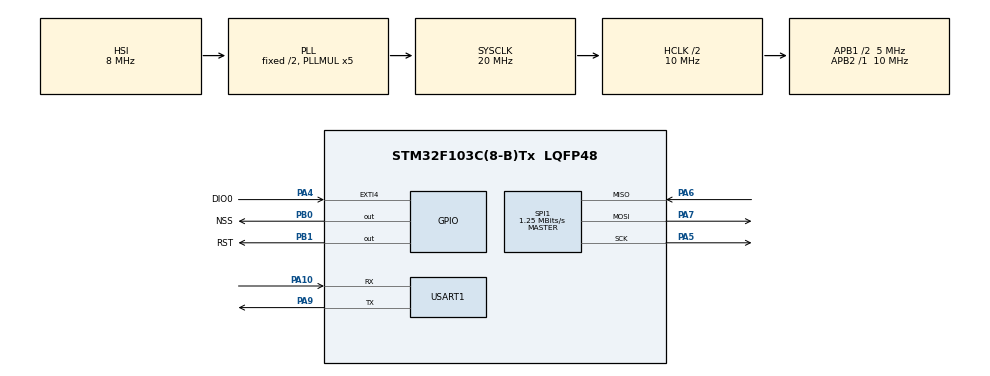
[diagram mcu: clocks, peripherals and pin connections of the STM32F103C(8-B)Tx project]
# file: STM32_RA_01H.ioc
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Mcu.Family=STM32F1
Mcu.Name=STM32F103C(8-B)Tx
Mcu.Package=LQFP48
NVIC.EXTI4_IRQn=true\:0\:0\:false\:false\:true\:true\:true\:true
NVIC.PriorityGroup=NVIC_PRIORITYGROUP_4
PA10.Mode=Asynchronous
PA10.Signal=USART1_RX
PA13.Mode=Serial_Wire
PA13.Signal=SYS_JTMS-SWDIO
PA14.Mode=Serial_Wire
PA14.Signal=SYS_JTCK-SWCLK
PA4.GPIO_Label=DIO0
PA4.Signal=GPXTI4
PA5.Mode=Full_Duplex_Master
PA5.Signal=SPI1_SCK
PA6.Mode=Full_Duplex_Master
PA6.Signal=SPI1_MISO
PA7.Mode=Full_Duplex_Master
PA7.Signal=SPI1_MOSI
PA9.Mode=Asynchronous
PA9.Signal=USART1_TX
PB0.GPIO_Label=NSS
PB0.PinState=GPIO_PIN_SET
PB0.Signal=GPIO_Output
PB1.GPIO_Label=RST
PB1.PinState=GPIO_PIN_SET
PB1.Signal=GPIO_Output
PD0-OSC_IN.Mode=HSE-External-Oscillator
PD0-OSC_IN.Signal=RCC_OSC_IN
PD1-OSC_OUT.Mode=HSE-External-Oscillator
PD1-OSC_OUT.Signal=RCC_OSC_OUT
ProjectManager.HeapSize=0x200
ProjectManager.StackSize=0x400
ProjectManager.TargetToolchain=STM32CubeIDE
RCC.AHBCLKDivider=RCC_SYSCLK_DIV2
RCC.AHBFreq_Value=10000000
RCC.APB1CLKDivider=RCC_HCLK_DIV2
RCC.APB1Freq_Value=5000000
RCC.APB1TimFreq_Value=10000000
RCC.APB2Freq_Value=10000000
RCC.APB2TimFreq_Value=10000000
RCC.HCLKFreq_Value=10000000
RCC.HSEDivPLL=RCC_HSE_PREDIV_DIV2
RCC.PLLMUL=RCC_PLL_MUL5
RCC.SYSCLKFreq_VALUE=20000000
RCC.SYSCLKSource=RCC_SYSCLKSOURCE_PLLCLK
RCC.USBFreq_Value=20000000
SPI1.BaudRatePrescaler=SPI_BAUDRATEPRESCALER_8
SPI1.CalculateBaudRate=1.25 MBits/s
SPI1.Direction=SPI_DIRECTION_2LINES
SPI1.Mode=SPI_MODE_MASTER
SPI1.VirtualType=VM_MASTER
USART1.VirtualMode=VM_ASYNC
board=custom

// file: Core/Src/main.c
/* USER CODE BEGIN Header */
/**
  ******************************************************************************
  * @file           : main.c
  * @brief          : Main program body
  ******************************************************************************
  * @attention
  *
  * Copyright (c) 2023 STMicroelectronics.
  * All rights reserved.
  *
  * This software is licensed under terms that can be found in the LICENSE file
  * in the root directory of this software component.
  * If no LICENSE file comes with this software, it is provided AS-IS.
  *
  ******************************************************************************
  */
/* USER CODE END Header */
#include "main.h"
#include "spi.h"
#include "usart.h"
#include "gpio.h"

/* USER CODE BEGIN Includes */
#include "LoRa.h"
/* USER CODE END Includes */

/* USER CODE BEGIN PV */
LoRa myLoRa;
uint16_t LoRa_stat = 0;
uint8_t RxBuffer[128];

int RSSI ;
/* USER CODE END PV */

void SystemClock_Config(void);

int main(void)
{

  /* MCU Configuration--------------------------------------------------------*/

  /* Reset of all peripherals, Initializes the Flash interface and the Systick. */
  HAL_Init();

  /* Configure the system clock */
  SystemClock_Config();

  /* Initialize all configured peripherals */
  MX_GPIO_Init();
  MX_SPI1_Init();
  MX_USART1_UART_Init();
  /* USER CODE BEGIN 2 */
  myLoRa = newLoRa();

  myLoRa.CS_port         = NSS_GPIO_Port;
  myLoRa.CS_pin          = NSS_Pin;
  myLoRa.reset_port      = RST_GPIO_Port;
  myLoRa.reset_pin       = RST_Pin;
  myLoRa.DIO0_port       = DIO0_GPIO_Port;
  myLoRa.DIO0_pin        = DIO0_Pin;
  myLoRa.hSPIx           = &hspi1;

  myLoRa.frequency             = 868;             // default = 433 MHz
  myLoRa.spredingFactor        = SF_7;            // default = SF_7
  myLoRa.bandWidth             = BW_125KHz;       // default = BW_125KHz
  myLoRa.crcRate               = CR_4_5;          // default = CR_4_5
  myLoRa.power                 = POWER_20db;      // default = 20db
  myLoRa.overCurrentProtection = 130;             // default = 100 mA
  myLoRa.preamble              = 9;              // default = 8;

//  LoRa_reset(&myLoRa);
  if (LoRa_init(&myLoRa) == LORA_OK ){
	  LoRa_stat = 1;
  }

  LoRa_startReceiving(&myLoRa);

  /* USER CODE END 2 */

  /* Infinite loop */
  /* USER CODE BEGIN WHILE */

  while (1)
  {

	HAL_UART_Transmit(&huart1, (uint8_t *)"Enviando mensaje\n", 17, HAL_MAX_DELAY);
	LoRa_sendPing(&myLoRa);
	HAL_UART_Transmit(&huart1, (uint8_t *)"Esperando respuesta...\n", 23, HAL_MAX_DELAY);
	HAL_Delay(1000);

    /* USER CODE END WHILE */

  }
}

void SystemClock_Config(void)
{
  RCC_OscInitTypeDef RCC_OscInitStruct = {0};
  RCC_ClkInitTypeDef RCC_ClkInitStruct = {0};

  /** Initializes the RCC Oscillators according to the specified parameters
  * in the RCC_OscInitTypeDef structure.
  */
  RCC_OscInitStruct.OscillatorType = RCC_OSCILLATORTYPE_HSI;
  RCC_OscInitStruct.HSIState = RCC_HSI_ON;
  RCC_OscInitStruct.HSICalibrationValue = RCC_HSICALIBRATION_DEFAULT;
  RCC_OscInitStruct.PLL.PLLState = RCC_PLL_ON;
  RCC_OscInitStruct.PLL.PLLSource = RCC_PLLSOURCE_HSI_DIV2;
  RCC_OscInitStruct.PLL.PLLMUL = RCC_PLL_MUL5;
  if (HAL_RCC_OscConfig(&RCC_OscInitStruct) != HAL_OK)
  {
    Error_Handler();
  }

  /** Initializes the CPU, AHB and APB buses clocks
  */
  RCC_ClkInitStruct.ClockType = RCC_CLOCKTYPE_HCLK|RCC_CLOCKTYPE_SYSCLK
                              |RCC_CLOCKTYPE_PCLK1|RCC_CLOCKTYPE_PCLK2;
  RCC_ClkInitStruct.SYSCLKSource = RCC_SYSCLKSOURCE_PLLCLK;
  RCC_ClkInitStruct.AHBCLKDivider = RCC_SYSCLK_DIV2;
  RCC_ClkInitStruct.APB1CLKDivider = RCC_HCLK_DIV2;
  RCC_ClkInitStruct.APB2CLKDivider = RCC_HCLK_DIV1;

  if (HAL_RCC_ClockConfig(&RCC_ClkInitStruct, FLASH_LATENCY_0) != HAL_OK)
  {
    Error_Handler();
  }
}

/* USER CODE BEGIN 4 */
void HAL_GPIO_EXTI_Callback(uint16_t GPIO_Pin)
{
	if(GPIO_Pin == DIO0_Pin){
	LoRa_receive(&myLoRa, RxBuffer, 128);
	RSSI = LoRa_getRSSI(&myLoRa);
	}
	uint8_t uartBuff[128];
	int len_message = sizeof(RxBuffer) / sizeof(RxBuffer[0]);
	char message[len_message];
	for (int i=0;i<len_message;i++){
		message[i] = (char)RxBuffer[i];
	}
	message[len_message] = '\0';
	sprintf(uartBuff, "%s rssi:%d\n",message,RSSI);
	HAL_UART_Transmit(&huart1, (uint8_t *)uartBuff, strlen(uartBuff), HAL_MAX_DELAY);

	char command[20];
	int id, rssi;
	LoRa_getNeighborRssi(message,command, &id, &rssi);

	if(strcmp(command,"ANSPING")==0){
		sprintf(uartBuff, "ID: %d rssi: %d\n",id, rssi);
		HAL_UART_Transmit(&huart1, (uint8_t *)uartBuff, strlen(uartBuff), HAL_MAX_DELAY);
		LoRa_deleteAll();
		LoRa_addNeighbor(id, rssi);
//		LoRa_printNeighbors();
	}
	if(strcmp(command,"PING")==0){

	    uint8_t response_ping[20];
	    sprintf(response_ping,"ANSPING;%d;%d",LORA_NODE_ID,RSSI);
	    HAL_UART_Transmit(&huart1, (uint8_t *)response_ping, strlen(response_ping), HAL_MAX_DELAY);
	    HAL_Delay(1000);
		LoRa_transmit(&myLoRa, response_ping, strlen(response_ping), 1000);
		HAL_UART_Transmit(&huart1, (uint8_t *)"\nMensaje enviado", 16, HAL_MAX_DELAY);

	}

}
/* USER CODE END 4 */

void Error_Handler(void)
{
  __disable_irq();
  while (1)
  {
  }
}
